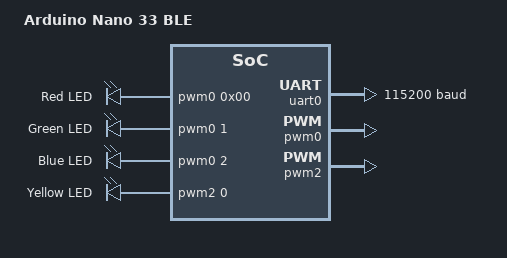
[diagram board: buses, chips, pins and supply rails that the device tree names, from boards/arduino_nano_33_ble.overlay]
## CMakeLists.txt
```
# SPDX-License-Identifier: Apache-2.0

cmake_minimum_required(VERSION 3.20.0)
find_package(Zephyr REQUIRED HINTS $ENV{ZEPHYR_BASE})
project(peripheral)


target_include_directories(app PRIVATE
  include
      )


target_sources(app PRIVATE
  src/main.cpp
)
```

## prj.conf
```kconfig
# Increased stack due to settings API usage
# CONFIG_SYSTEM_WORKQUEUE_STACK_SIZE=2048

# CONFIG_UART=y
# CONFIG_SERIAL=y
# CONFIG_UART_CONSOLE=ywe



CONFIG_BT=y
CONFIG_LOG=y
CONFIG_BT_SMP=n
# CONFIG_BT_DIS=y
# CONFIG_BT_ATT_PREPARE_COUNT=5
# CONFIG_BT_BAS=y
# CONFIG_BT_HRS=y
# CONFIG_BT_IAS=y
# CONFIG_BT_CTS=y
# CONFIG_BT_CTS_HELPER_API=y
# CONFIG_BT_PRIVACY=y
CONFIG_BT_DEVICE_NAME="rf5840"
CONFIG_BT_PERIPHERAL=y
# CONFIG_BT_DEVICE_APPEARANCE=833
# CONFIG_BT_DEVICE_NAME_DYNAMIC=y
# CONFIG_BT_DEVICE_NAME_MAX=65

# CONFIG_BT_KEYS_OVERWRITE_OLDEST=y
# CONFIG_BT_SETTINGS=y
# CONFIG_FLASH=y
# CONFIG_FLASH_MAP=y
# CONFIG_NVS=y
# CONFIG_SETTINGS=y

CONFIG_GPIO=y
CONFIG_PWM=y

#enable multiple connectiosn
CONFIG_BT_MAX_CONN=1

# This allows the stack to handle multiple identities (MAC addresses)
CONFIG_BT_ID_MAX=5

# 4. Enable Random Number Generation (Required for sys_rand32_get)
CONFIG_ENTROPY_GENERATOR=y
CONFIG_TEST_RANDOM_GENERATOR=y

# 5. Kernel Workqueue (Usually on by default, but essential for our logic)
CONFIG_SYSTEM_WORKQUEUE_STACK_SIZE=2048

#memory pools and memory blocks > 4X bytes (x>0)
# CONFIG_SYSTEM_MEMORY_POOL_SIZE=10240
```

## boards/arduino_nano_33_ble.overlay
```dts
/ {
    #address-cells = <0x1>;
    #size-cells = <0x1>;
    model = "Arduino Nano 33 BLE";
    compatible = "arduino,arduino_nano_33_ble";

    chosen {
        zephyr,console = &uart0;
        zephyr,bt-hci = &bt_hci_controller;
        zephyr,bt-mon-uart = &uart0;
    };

    aliases {
        pwm-led0 = &red_pwm_led;
        pwm-led1 = &green_pwm_led;
        pwm-led2 = &blue_pwm_led;
        pwm-led3 = &yellow_pwm_ledy;
    };

    pwmleds {
        compatible = "pwm-leds";

        red_pwm_led: led_pwm_0 {
            label = "Red LED";
            pwms = <&pwm0 0x00  0x1312d00 PWM_POLARITY_INVERTED>; 
        };

        green_pwm_led: led_pwm_1 {
            label = "Green LED";
            pwms = <&pwm0 1 0x1312d00 PWM_POLARITY_INVERTED>;
        };

        blue_pwm_led: led_pwm_2 {
            label = "Blue LED";
            pwms = <&pwm0 2 0x1312d00 PWM_POLARITY_INVERTED>;
        };

        yellow_pwm_ledy: led_pwm_3 {
            label = "Yellow LED";
            pwms = <&pwm2 0 0x1312d00 PWM_POLARITY_NORMAL>;
        };
    };
};

&uart0 {
    status = "okay";
    current-speed = <115200>;
};

&pwm0 {
    status = "okay";
};

&pwm2 {
    status = "okay";
};
```

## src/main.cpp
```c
#include <zephyr/types.h>
#include <zephyr/kernel.h>
#include <zephyr/drivers/gpio.h>
#include <zephyr/logging/log.h>
#include <zephyr/bluetooth/bluetooth.h>
#include <zephyr/bluetooth/gap.h> //type of connection
#include "Gpio.hpp"
#include "Ble_structs.hpp"
// #include <zephyr/bluetooth/uuid.h>

LOG_MODULE_REGISTER(Ble_sample_main, LOG_LEVEL_DBG);

#ifdef __cplusplus__
extern "C" {
#endif

int main(void)
{

#ifdef CONFIG_GPIO

	GPIO::Gpio::gpio_init();
	// GPIO::Gpio::gpio_pulse( &GPIO::Gpio::led_blue, 100);

#endif // DEBUG
	int err = bt_enable(NULL);

	if (err) {
		LOG_ERR("Bluetooth initialization failed\n");
 	return  -ENODEV;
	} else {
		LOG_INF("Ble initalized\n");
	}
	
	 Ble_structs::init();
    err = Ble_structs::start_advertising();
    if (err<0) {
        LOG_ERR("Initial advertising failed\n");
    }

	while (1) {
		k_sleep(K_MSEC(1000));
	}

	return 0;
}

#ifdef __cplusplus__
}

#endif // DEBUG
```

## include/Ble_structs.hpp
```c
#ifndef BLE_STRUCTS_HPP
#define BLE_STRUCTS_HPP
#if defined(CONFIG_BT)
#include <zephyr/bluetooth/bluetooth.h>
#include <zephyr/bluetooth/gatt.h>
#include <zephyr/bluetooth/assigned_numbers.h>
#define DEVICE_NAME CONFIG_BT_DEVICE_NAME
#define COMPANY_ID_CODE (0x0059)

#endif // CONFIG_BT

#if defined(CONFIG_BT_PERIPHERAL) && defined(CONFIG_BT)

#include <zephyr/bluetooth/uuid.h>
#include <zephyr/bluetooth/conn.h>
#include <zephyr/bluetooth/addr.h>
#include <zephyr/random/random.h>
#endif

#if defined(CONFIG_PWM) && defined(CONFIG_GPIO)
#include "Gpio.hpp"
#endif //

#if defined(CONFIG_BT) || defined(CONFIG_BT_PERIPHERAL)

/* K_WORK_DEFINE(adv_work, Ble_structs::adv_work_handler);
	struct k_work work = Z_WORK_INITIALIZER(work_handler)
*/
struct Ble_structs {
	static inline const uint8_t ad_flags = BT_LE_AD_NO_BREDR;
	Ble_structs() = delete;
	Ble_structs(const Ble_structs &) = delete;
	Ble_structs &operator=(const Ble_structs &) = delete;

	struct adv_mfg_config {
		uint16_t company_id;
		uint16_t custom_data;
	};
	static inline struct Ble_structs::adv_mfg_config adv_mfg_config = {COMPANY_ID_CODE, 0x00};
	static inline const struct bt_data ad[] = {{
							   .type = (uint8_t)BT_DATA_FLAGS,
							   .data_len = (uint8_t)sizeof(ad_flags),
							   .data = &ad_flags,
						   },
						   {
							   .type = (uint8_t)BT_DATA_NAME_COMPLETE,
							   .data_len = sizeof(DEVICE_NAME) - 1,
							   .data = (uint8_t *)DEVICE_NAME,
						   },
						   {.type = (uint8_t)BT_DATA_MANUFACTURER_DATA,
						    .data_len = sizeof(adv_mfg_config),
						    .data = (uint8_t *)&adv_mfg_config}};

	static inline struct bt_le_adv_param adv_param = {
		.id = BT_ID_DEFAULT,
		.sid = 0,
		.secondary_max_skip = 0,
		.options = BT_LE_ADV_OPT_CONN | BT_LE_ADV_OPT_USE_IDENTITY,
		.interval_min = 80,
		.interval_max = 160,
		.peer = NULL,
	};
	static inline unsigned char mygithub[] = {0x17, '/', '/', 'g', 'i', 't', 'h',
						  'u',  'b', '.', 'c', 'o', 'm', '/',
						  'p',  'a', 's', 'h', 'i', '4', '4'};
	static inline const struct bt_data scan_response[] = {
		BT_DATA(BT_DATA_URI, Ble_structs::mygithub, sizeof(Ble_structs::mygithub)),
	};
	static inline bt_addr_le_t addr;
	static inline int random_id = BT_ID_DEFAULT;

#if defined(CONFIG_BT) && defined(CONFIG_BT_ID_MAX)
	static int Randomize_address()
	{
		uint32_t ran = sys_rand32_get();
		char addr_str[18];
		snprintf(addr_str, sizeof(addr_str), "D2:44:33:22:11:%02X", (uint8_t)(ran & 0xFF));
		int err = bt_addr_le_from_str(addr_str, "random", &Ble_structs::addr);
		if (err) {
			return -EINVAL;
		}
		bt_id_reset(ran, NULL, NULL);
		err = bt_id_create(&Ble_structs::addr, NULL);
		if (err < 0) {
			return err;
		}
		random_id = err;
		Ble_structs::adv_param.id = Ble_structs::random_id;
#if defined(CONFIG_GPIO) && defined(CONFIG_PWM)
		GPIO::Gpio::pulse_all(5000);
	#endif
		return 0;
	}

#endif

#if defined(CONFIG_SYSTEM_WORKQUEUE_STACK_SIZE) && defined(CONFIG_BT_PERIPHERAL)
	/* State and callbacks */
	static inline struct k_work adv_work;
	
	static int start_advertising(void)
	{
		int err = bt_le_adv_start(&Ble_structs::adv_param, Ble_structs::ad,
			ARRAY_SIZE(Ble_structs::ad), Ble_structs::scan_response,
			ARRAY_SIZE(Ble_structs::scan_response));
			if (err < 0) {
				return -ENODEV;
			}else
			#if defined(CONFIG_GPIO) && defined(CONFIG_PWM)
			GPIO::Gpio::gpio_pulse(&GPIO::Gpio::led_blue, 500);
			#endif
			return err;
		}
#if  defined(CONFIG_SYSTEM_WORKQUEUE_STACK_SIZE) && defined(CONFIG_BT_PERIPHERAL)
	static void on_disconnected(struct bt_conn *conn, uint8_t reason)
	{
		printk("Disconnected (reason 0x%02x). Scheduling re-advertising...\n", reason);
		#if defined(CONFIG_GPIO) && defined(CONFIG_PWM)
		GPIO::Gpio::gpio_pulse(&GPIO::Gpio::led_red, 500);
		#endif
		k_work_submit(&Ble_structs::adv_work);
	}

	static void adv_work_handler(struct k_work *work)
	{
		bt_le_adv_stop();
		Randomize_address();
		int err = Ble_structs::start_advertising();
		if (err < 0) {
			printk("advertisment failed from work handler\n");
		} else {
			printk("advertisment started with new MAC ID: %d\n", random_id);
		}
	}

	static void recycled_cb(void)
	{
		printk("Connection object recycled (memory freed).\n");
	}

	static void on_connected(struct bt_conn *conn, uint8_t err)
	{
		if (err) {
			printk("Connection failed (err 0x%02x)\n", err);
			return;
		}else printk("Connected to %7d\n",  Ble_structs::random_id);
		#if defined(CONFIG_GPIO) && defined(CONFIG_PWM)
		GPIO::Gpio::gpio_pulse(&GPIO::Gpio::led_green, 500);
		#endif
	}

	static inline struct bt_conn_cb conn_callbacks = {
		.connected = on_connected,
		.disconnected = on_disconnected,
		.recycled = recycled_cb,
	};
	static void init()
	{
		k_work_init(&adv_work, adv_work_handler);
		bt_conn_cb_register(&conn_callbacks);
	}
	#endif // DEBUG

#endif
};

#endif
#endif
```

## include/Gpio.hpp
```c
#ifndef GPIO_HPP
#define GPIO_HPP

#if defined(CONFIG_GPIO)
#include <zephyr/drivers/gpio.h>
#include <zephyr/devicetree.h>
#include <zephyr/kernel.h>
#include <zephyr/logging/log.h>
#include <errno.h>
#endif

#if defined(CONFIG_PWM) && defined(CONFIG_GPIO)
#include <zephyr/drivers/pwm.h>
#endif
#include <cstdint>

namespace GPIO
{
struct Gpio {
	Gpio() = delete;
	~Gpio() = delete;

#if defined(CONFIG_GPIO) && defined(CONFIG_PWM) 

	static inline const struct gpio_dt_spec led_blue = GPIO_DT_SPEC_GET(DT_ALIAS(led2), gpios);
	static inline const struct gpio_dt_spec led_green = GPIO_DT_SPEC_GET(DT_ALIAS(led1), gpios);
	static inline const struct gpio_dt_spec led_red = GPIO_DT_SPEC_GET(DT_ALIAS(led0), gpios);

	// gpio  port  init
	static int gpio_init()
	{
		if (!device_is_ready(led_blue.port) || (!device_is_ready(led_red.port)) ||
		    (!device_is_ready(led_green.port))) {
			return -ENODEV;
		}
		int ret;
		ret = gpio_pin_configure_dt(&led_blue, GPIO_OUTPUT_INACTIVE);
		if (ret != 0) {
			return ret;
		}

		ret = gpio_pin_configure_dt(&led_red, GPIO_OUTPUT_INACTIVE);
		if (ret != 0) {
			return ret;
		}

		ret = gpio_pin_configure_dt(&led_green, GPIO_OUTPUT_INACTIVE);
		return ret;
	}	
    //gpio _pulse defination
	static int gpio_pulse(const struct gpio_dt_spec *led, uint16_t duration_ms)
	{
		int ret = gpio_pin_set_dt(led, 1);
		if (ret < 0) {
			return ret;
		}
		k_msleep(duration_ms);
		return gpio_pin_set_dt(led, 0);
	}

static int pulse_all(uint16_t duration_ms) {
    gpio_pin_set_dt(&GPIO::Gpio::led_red, 1);
    gpio_pin_set_dt(&GPIO::Gpio::led_green, 1);
    gpio_pin_set_dt(&GPIO::Gpio::led_blue, 1);

    k_msleep(duration_ms);

    gpio_pin_set_dt(&GPIO::Gpio::led_red, 0);
    gpio_pin_set_dt(&GPIO::Gpio::led_green, 0);
    return gpio_pin_set_dt(&GPIO::Gpio::led_blue, 0);
}
#else
	static int gpio_init()
	{
		return 0;
	}
	static int gpio_pulse(const struct gpio_dt_spec *led, uint16_t duration_ms)
	{
		return 0;
	}
#endif // CONFIG_GPIO

// pwm -rgb section
#if defined(CONFIG_PWM) && defined(CONFIG_GPIO)

	static inline const struct pwm_dt_spec red_pwm_led =
		PWM_DT_SPEC_GET(DT_NODELABEL(red_pwm_led));
	static inline const struct pwm_dt_spec green_pwm_led =
		PWM_DT_SPEC_GET(DT_NODELABEL(green_pwm_led));
	static inline const struct pwm_dt_spec blue_pwm_led =
		PWM_DT_SPEC_GET(DT_NODELABEL(blue_pwm_led));
#endif
};

} // namespace GPIO

#endif // GPIO_HPP
```
